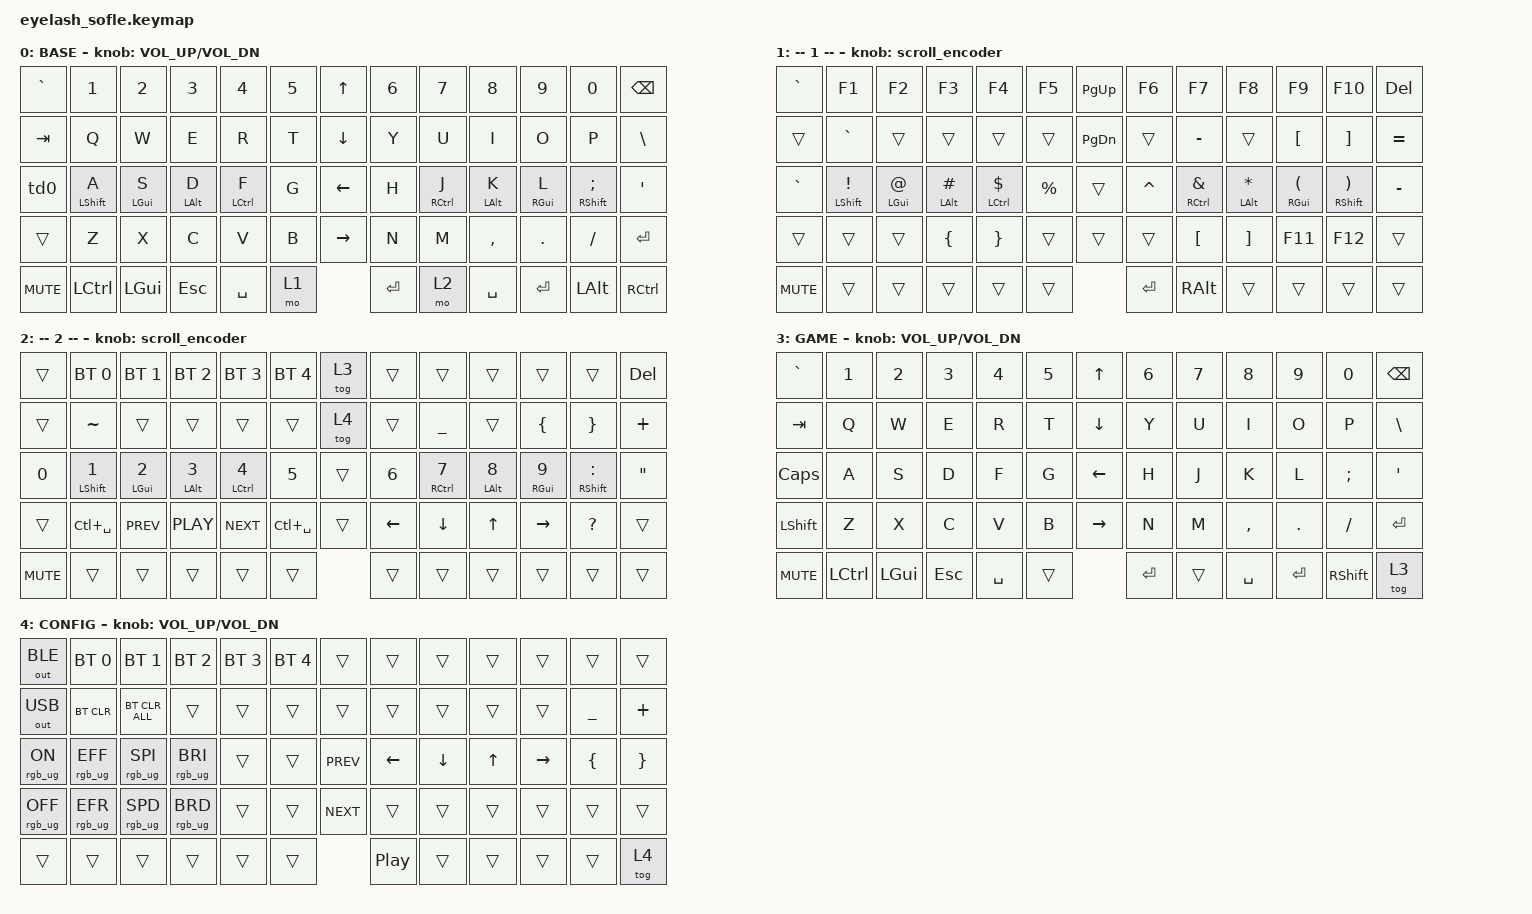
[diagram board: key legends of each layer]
// #define ZMK_POINTING_DEFAULT_MOVE_VAL 1200  // 600 (unused: &mmv isn't bound to any key)
#define ZMK_POINTING_DEFAULT_SCRL_VAL 25   // 10

#include <input/processors.dtsi>
#include <zephyr/dt-bindings/input/input-event-codes.h>
#include <behaviors.dtsi>
#include <dt-bindings/zmk/bt.h>
#include <dt-bindings/zmk/ext_power.h>
#include <dt-bindings/zmk/keys.h>
#include <dt-bindings/zmk/pointing.h>
#include <dt-bindings/zmk/rgb.h>
#include <dt-bindings/zmk/outputs.h>

// &mmv_input_listener { input-processors = <&zip_xy_scaler 2 1>; }; // unused: &mmv isn't bound to any key

&msc_input_listener { input-processors = <&zip_scroll_scaler 2 1>; };

&msc {
    acceleration-exponent = <1>;      // 0
    time-to-max-speed-ms = <100>;       // 300
    delay-ms = <0>;                   // 0
};

// &mmv { // unused: not bound to any key
//     time-to-max-speed-ms = <500>;
//     acceleration-exponent = <1>;
//     trigger-period-ms = <16>;
// };


/ {

    scroll_encoder: scroll_encoder {
        compatible = "zmk,behavior-sensor-rotate";
        #sensor-binding-cells = <0>;
        bindings = <&msc SCRL_DOWN>, <&msc SCRL_UP>;
        tap-ms = <100>;
    };

    behaviors {
        hm: homerow_mods {
            compatible = "zmk,behavior-hold-tap";
            label = "HOMEROW_MODS";
            #binding-cells = <2>;
            tapping-term-ms = <190>;
            quick-tap-ms = <180>;
            flavor = "tap-preferred";
            bindings = <&kp>, <&kp>;
        };

        td0: tap_dance_0 {
            compatible = "zmk,behavior-tap-dance";
            #binding-cells = <0>;
            tapping-term-ms = <200>;
            bindings = <&kt LSHIFT>, <&caps_word>;
        };
    };

    keymap {
        compatible = "zmk,keymap";

        layer0 {
            bindings = <
&kp GRAVE   &kp N1          &kp N2        &kp N3        &kp N4        &kp N5   &kp UP_ARROW     &kp N6      &kp N7        &kp N8        &kp N9           &kp N0             &kp BACKSPACE
&kp TAB     &kp Q           &kp W         &kp E         &kp R         &kp T    &kp DOWN_ARROW   &kp Y       &kp U         &kp I         &kp O            &kp P              &kp BSLH
&td0        &hm LSHIFT A    &hm LGUI S    &hm LALT D    &hm LCTRL F   &kp G    &kp LEFT_ARROW   &kp H       &hm RCTRL J   &hm LALT K    &hm RGUI L       &hm RSHIFT SEMI    &kp APOS
&trans      &kp Z           &kp X         &kp C         &kp V         &kp B    &kp RIGHT_ARROW  &kp N       &kp M         &kp COMMA     &kp DOT          &kp FSLH           &kp ENTER
&kp C_MUTE  &kp LCTRL          &kp LGUI        &kp ESC       &kp SPACE     &mo 1    &kp ENTER        &mo 2       &kp SPACE     &kp ENTER     &kp LALT           &kp RCTRL
            >;

            sensor-bindings = <&inc_dec_kp C_VOLUME_UP C_VOL_DN>;
            display-name = "BASE";
        };

        layer_1 {
            bindings = <
&kp GRAVE   &kp F1            &kp F2          &kp F3           &kp F4              &kp F5             &kp PAGE_UP      &kp F6           &kp F7           &kp F8           &kp F9         &kp F10           &kp DEL
&trans      &kp GRAVE         &trans          &trans           &trans              &trans             &kp PAGE_DOWN    &trans           &kp MINUS        &trans           &kp LBKT       &kp RBKT          &kp EQUAL
&kp GRAVE   &hm LSHIFT EXCL   &hm LGUI AT     &hm LALT HASH    &hm LCTRL DOLLAR    &kp PERCENT        &trans           &kp CARET        &hm RCTRL AMPS   &hm LALT ASTRK   &hm RGUI LPAR  &hm RSHIFT RPAR   &kp MINUS
&trans      &trans            &trans          &kp LEFT_BRACE   &kp RIGHT_BRACE     &trans             &trans           &trans           &kp LBKT         &kp RBKT         &kp F11        &kp F12           &trans
&kp C_MUTE  &trans            &trans          &trans           &trans              &trans             &kp ENTER        &kp RALT           &trans           &trans           &trans         &trans
            >;

            display-name = "-- 1 --";
            sensor-bindings = <&scroll_encoder>;
        };

        layer_2 {
            bindings = <
&trans          &bt BT_SEL 0    &bt BT_SEL 1      &bt BT_SEL 2    &bt BT_SEL 3    &bt BT_SEL 4      &tog 3               &trans           &trans           &trans           &trans          &trans           &kp DEL
&trans          &kp TILDE       &trans            &trans          &trans          &trans            &tog 4         &trans           &kp UNDER        &trans           &kp LBRC        &kp RBRC           &kp PLUS
&kp N0          &hm LSHIFT N1   &hm LGUI N2       &hm LALT N3     &hm LCTRL N4    &kp N5            &trans         &kp N6           &hm RCTRL N7     &hm LALT N8      &hm RGUI N9     &hm RSHIFT COLON   &kp DOUBLE_QUOTES
&trans          &kp LC(SPACE)   &kp C_PREV        &kp C_PLAY      &kp C_NEXT      &kp LC(SPACE)     &trans         &kp LEFT_ARROW   &kp DOWN_ARROW   &kp UP_ARROW     &kp RIGHT_ARROW &kp QMARK          &trans
&kp C_MUTE      &trans          &trans            &trans          &trans          &trans            &trans         &trans           &trans           &trans           &trans          &trans
            >;

            display-name = "-- 2 --";
            sensor-bindings = <&scroll_encoder>;
        };

        layer_3 {
            bindings = <
&kp GRAVE   &kp N1     &kp N2     &kp N3     &kp N4     &kp N5   &kp UP_ARROW     &kp N6     &kp N7     &kp N8     &kp N9     &kp N0     &kp BACKSPACE
&kp TAB     &kp Q      &kp W      &kp E      &kp R      &kp T    &kp DOWN_ARROW   &kp Y      &kp U      &kp I      &kp O      &kp P      &kp BSLH
&kp CAPS    &kp A      &kp S      &kp D      &kp F      &kp G    &kp LEFT_ARROW   &kp H      &kp J      &kp K      &kp L      &kp SEMI   &kp APOS
&kp LSHIFT  &kp Z      &kp X      &kp C      &kp V      &kp B    &kp RIGHT_ARROW  &kp N      &kp M      &kp COMMA  &kp DOT    &kp FSLH   &kp ENTER
&kp C_MUTE  &kp LCTRL  &kp LGUI   &kp ESC    &kp SPACE  &trans   &kp ENTER        &trans     &kp SPACE  &kp ENTER  &kp RSHFT  &tog 3
            >;

            display-name = "GAME";
            sensor-bindings = <&inc_dec_kp C_VOLUME_UP C_VOL_DN>;
        };

        layer_4 {
            bindings = <
&out OUT_BLE    &bt BT_SEL 0    &bt BT_SEL 1      &bt BT_SEL 2    &bt BT_SEL 3    &bt BT_SEL 4      &trans               &trans           &trans           &trans           &trans          &trans           &trans
&out OUT_USB    &bt BT_CLR      &bt BT_CLR_ALL    &trans          &trans          &trans            &trans               &trans           &trans           &trans           &trans          &kp UNDER        &kp PLUS
&rgb_ug RGB_ON  &rgb_ug RGB_EFF &rgb_ug RGB_SPI   &rgb_ug RGB_BRI &trans          &trans            &kp C_PREV           &kp LEFT_ARROW   &kp DOWN_ARROW   &kp UP_ARROW     &kp RIGHT_ARROW &kp LBRC         &kp RBRC
&rgb_ug RGB_OFF &rgb_ug RGB_EFR &rgb_ug RGB_SPD   &rgb_ug RGB_BRD &trans          &trans            &kp C_NEXT           &trans           &trans           &trans           &trans          &trans           &trans
&trans          &trans          &trans            &trans          &trans          &trans            &kp C_PP             &trans           &trans           &trans           &trans          &tog 4
            >;

            display-name = "CONFIG";
            sensor-bindings = <&inc_dec_kp C_VOLUME_UP C_VOL_DN>;
        };
    };
};
